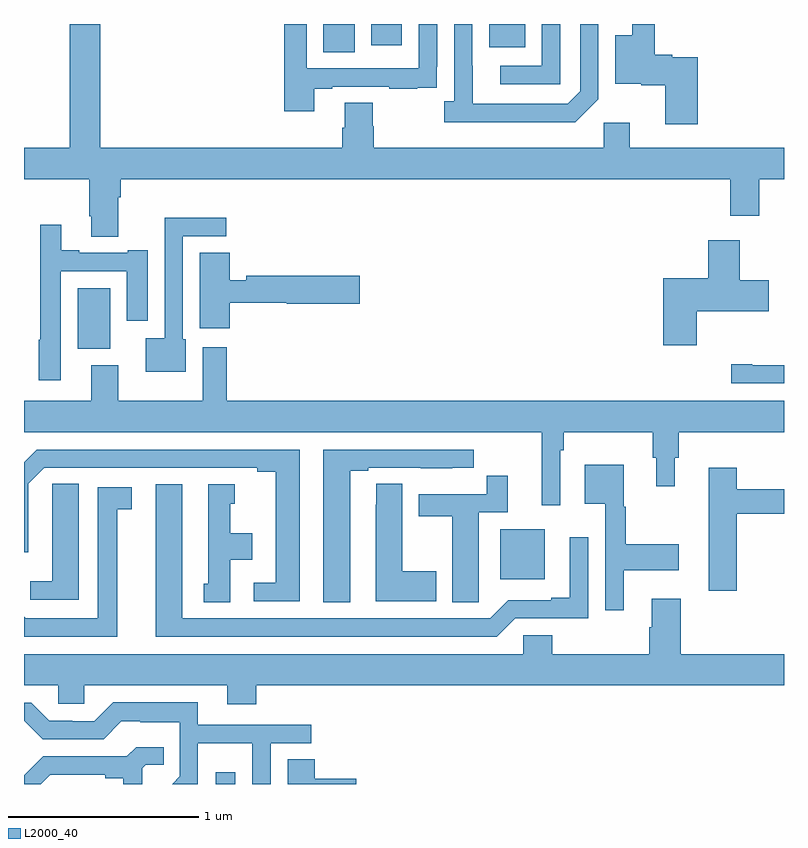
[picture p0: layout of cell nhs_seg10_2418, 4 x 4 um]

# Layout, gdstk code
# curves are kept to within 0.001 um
import gdstk
lib = gdstk.Library(unit=1e-6, precision=1e-09)
def R(c, l, rs):  # rectangles x0, y0, x1, y1
    for r in rs: c.add(gdstk.rectangle(r[:2], r[2:], *l))
def P(c, l, *ps):  # polygons
    for p in ps: c.add(gdstk.Polygon(p, *l))
L2000_40 = (2000, 40)

nhs_seg10_2418 = lib.new_cell('nhs_seg10_2418')
R(nhs_seg10_2418, L2000_40, [(242.009,1262.5,242.113,1262.563), (243.506,1263.578,243.742,1263.841), (241.283,1264.79,241.453,1265.11), (242.576,1266.352,242.74,1266.5), (243.449,1266.377,243.637,1266.5), (242.828,1266.387,242.989,1266.5)])
P(nhs_seg10_2418, L2000_40, [(241.4,1266.5),(241.24,1266.5),(241.24,1265.848),(241,1265.848),(241,1265.684),(241.343,1265.684),(241.343,1265.488),(241.355,1265.488),(241.355,1265.38),(241.495,1265.38),(241.495,1265.588),(241.508,1265.588),(241.508,1265.684),(244.718,1265.684),(244.718,1265.49),(244.87,1265.49),(244.87,1265.684),(245,1265.684),(245,1265.848),(244.189,1265.848),(244.189,1265.98),(244.05,1265.98),(244.05,1265.848),(242.84,1265.848),(242.84,1265.961),(242.835,1265.961),(242.835,1266.086),(242.687,1266.086),(242.687,1265.954),(242.675,1265.954),(242.675,1265.848),(241.4,1265.848)],
  [(242.527,1266.159),(242.623,1266.159),(242.623,1266.171),(242.923,1266.171),(242.923,1266.159),(243.071,1266.159),(243.071,1266.165),(243.173,1266.165),(243.173,1266.274),(243.174,1266.274),(243.174,1266.5),(243.078,1266.5),(243.078,1266.267),(242.487,1266.267),(242.487,1266.5),(242.371,1266.5),(242.371,1266.042),(242.527,1266.042)],
  [(244.547,1266.325),(244.413,1266.325),(244.413,1266.338),(244.319,1266.338),(244.319,1266.5),(244.202,1266.5),(244.202,1266.442),(244.112,1266.442),(244.112,1266.185),(244.248,1266.185),(244.248,1266.178),(244.376,1266.178),(244.376,1265.973),(244.547,1265.973)],
  [(244.023,1266.105),(244.023,1266.5),(243.927,1266.5),(243.927,1266.147),(243.861,1266.081),(243.361,1266.081),(243.36,1266.5),(243.264,1266.5),(243.264,1266.094),(243.213,1266.094),(243.213,1265.984),(243.902,1265.984)],
  [(243.822,1266.5),(243.726,1266.5),(243.726,1266.279),(243.507,1266.279),(243.507,1266.183),(243.822,1266.183)],
  [(241.852,1264.842),(241.836,1264.842),(241.836,1265.382),(242.065,1265.382),(242.065,1265.48),(241.74,1265.48),(241.74,1264.846),(241.64,1264.846),(241.64,1264.67),(241.852,1264.67)],
  [(241.194,1265.199),(241.541,1265.199),(241.541,1264.938),(241.651,1264.938),(241.651,1265.308),(241.547,1265.308),(241.547,1265.295),(241.291,1265.295),(241.291,1265.308),(241.195,1265.308),(241.195,1265.443),(241.086,1265.443),(241.086,1264.838),(241.078,1264.838),(241.078,1264.626),(241.194,1264.626)],
  [(244.542,1264.988),(244.921,1264.988),(244.921,1265.151),(244.768,1265.151),(244.768,1265.362),(244.601,1265.362),(244.601,1265.161),(244.364,1265.161),(244.364,1264.809),(244.542,1264.809)],
  [(242.082,1265.032),(242.382,1265.032),(242.382,1265.027),(242.767,1265.027),(242.767,1265.174),(242.17,1265.174),(242.17,1265.151),(242.082,1265.151),(242.082,1265.297),(241.925,1265.297),(241.925,1264.899),(242.082,1264.899)],
  [(243.822,1264.256),(243.842,1264.256),(243.842,1264.352),(244.309,1264.352),(244.309,1264.218),(244.328,1264.218),(244.328,1264.068),(244.426,1264.068),(244.426,1264.218),(244.445,1264.218),(244.445,1264.352),(245,1264.352),(245,1264.516),(242.066,1264.516),(242.066,1264.798),(241.94,1264.798),(241.94,1264.516),(241.495,1264.516),(241.495,1264.705),(241.355,1264.705),(241.355,1264.516),(241,1264.516),(241,1264.352),(243.725,1264.352),(243.725,1263.966),(243.822,1263.966)],
  [(245,1264.704),(244.834,1264.704),(244.834,1264.709),(244.722,1264.709),(244.722,1264.608),(245,1264.608)],
  [(242.716,1264.149),(242.812,1264.149),(242.812,1264.164),(243.088,1264.164),(243.088,1264.163),(243.254,1264.163),(243.254,1264.164),(243.367,1264.164),(243.367,1264.26),(242.576,1264.26),(242.576,1263.457),(242.716,1263.457)],
  [(242.452,1264.26),(241.067,1264.26),(241,1264.193),(241,1263.72),(241.023,1263.72),(241.023,1264.08),(241.107,1264.164),(242.228,1264.164),(242.228,1264.144),(242.324,1264.144),(242.324,1263.558),(242.208,1263.558),(242.208,1263.462),(242.452,1263.462)],
  [(244.156,1263.626),(244.447,1263.626),(244.447,1263.761),(244.168,1263.761),(244.168,1263.96),(244.156,1263.96),(244.156,1264.18),(243.95,1264.18),(243.95,1263.974),(244.059,1263.974),(244.059,1263.414),(244.156,1263.414)],
  [(244.751,1263.922),(245,1263.922),(245,1264.051),(244.751,1264.051),(244.751,1264.165),(244.604,1264.165),(244.604,1263.516),(244.751,1263.516)],
  [(243.393,1263.568),(243.394,1263.568),(243.394,1263.93),(243.545,1263.93),(243.545,1264.123),(243.436,1264.123),(243.436,1264.026),(243.077,1264.026),(243.077,1263.91),(243.254,1263.91),(243.254,1263.457),(243.393,1263.457)],
  [(241.288,1264.079),(241.149,1264.079),(241.149,1263.971),(241.148,1263.971),(241.148,1263.568),(241.032,1263.568),(241.032,1263.471),(241.288,1263.471)],
  [(243.169,1263.621),(242.992,1263.621),(242.992,1264.079),(242.853,1264.079),(242.853,1263.971),(242.852,1263.971),(242.852,1263.461),(243.169,1263.461)],
  [(243.585,1263.372),(243.969,1263.372),(243.969,1263.799),(243.872,1263.799),(243.872,1263.481),(243.776,1263.481),(243.776,1263.468),(243.549,1263.468),(243.453,1263.372),(241.834,1263.372),(241.834,1264.078),(241.694,1264.078),(241.694,1263.276),(243.489,1263.276)],
  [(242.086,1263.68),(242.2,1263.68),(242.2,1263.82),(242.086,1263.82),(242.086,1263.975),(242.11,1263.975),(242.11,1264.078),(241.97,1264.078),(241.97,1263.555),(241.946,1263.555),(241.946,1263.457),(242.086,1263.457)],
  [(241.492,1263.946),(241.567,1263.946),(241.567,1264.062),(241.388,1264.062),(241.388,1263.372),(241.008,1263.372),(241,1263.38),(241,1263.276),(241.492,1263.276)],
  [(242.222,1263.02),(245,1263.02),(245,1263.184),(244.457,1263.184),(244.457,1263.475),(244.304,1263.475),(244.304,1263.326),(244.292,1263.326),(244.292,1263.184),(243.779,1263.184),(243.779,1263.282),(243.627,1263.282),(243.627,1263.184),(241,1263.184),(241,1263.02),(241.179,1263.02),(241.179,1262.922),(241.317,1262.922),(241.317,1263.02),(242.069,1263.02),(242.069,1262.921),(242.222,1262.921)],
  [(241.914,1262.714),(242.202,1262.714),(242.202,1262.5),(242.298,1262.5),(242.298,1262.715),(242.512,1262.715),(242.512,1262.811),(241.915,1262.811),(241.915,1262.929),(241.471,1262.929),(241.371,1262.829),(241.254,1262.829),(241.254,1262.832),(241.134,1262.832),(241.038,1262.928),(241,1262.928),(241,1262.832),(241.002,1262.832),(241.098,1262.736),(241.419,1262.736),(241.512,1262.829),(241.612,1262.829),(241.612,1262.825),(241.821,1262.825),(241.821,1262.541),(241.78,1262.5),(241.914,1262.5)],
  [(241.138,1262.55),(241.427,1262.55),(241.427,1262.53),(241.523,1262.53),(241.523,1262.5),(241.623,1262.5),(241.623,1262.583),(241.641,1262.601),(241.736,1262.601),(241.736,1262.693),(241.59,1262.693),(241.542,1262.646),(241.1,1262.646),(241,1262.546),(241,1262.5),(241.088,1262.5)],
  [(242.749,1262.528),(242.531,1262.528),(242.531,1262.63),(242.387,1262.63),(242.387,1262.5),(242.749,1262.5)])

lib.write_gds('nhs_seg10_2418.gds')
